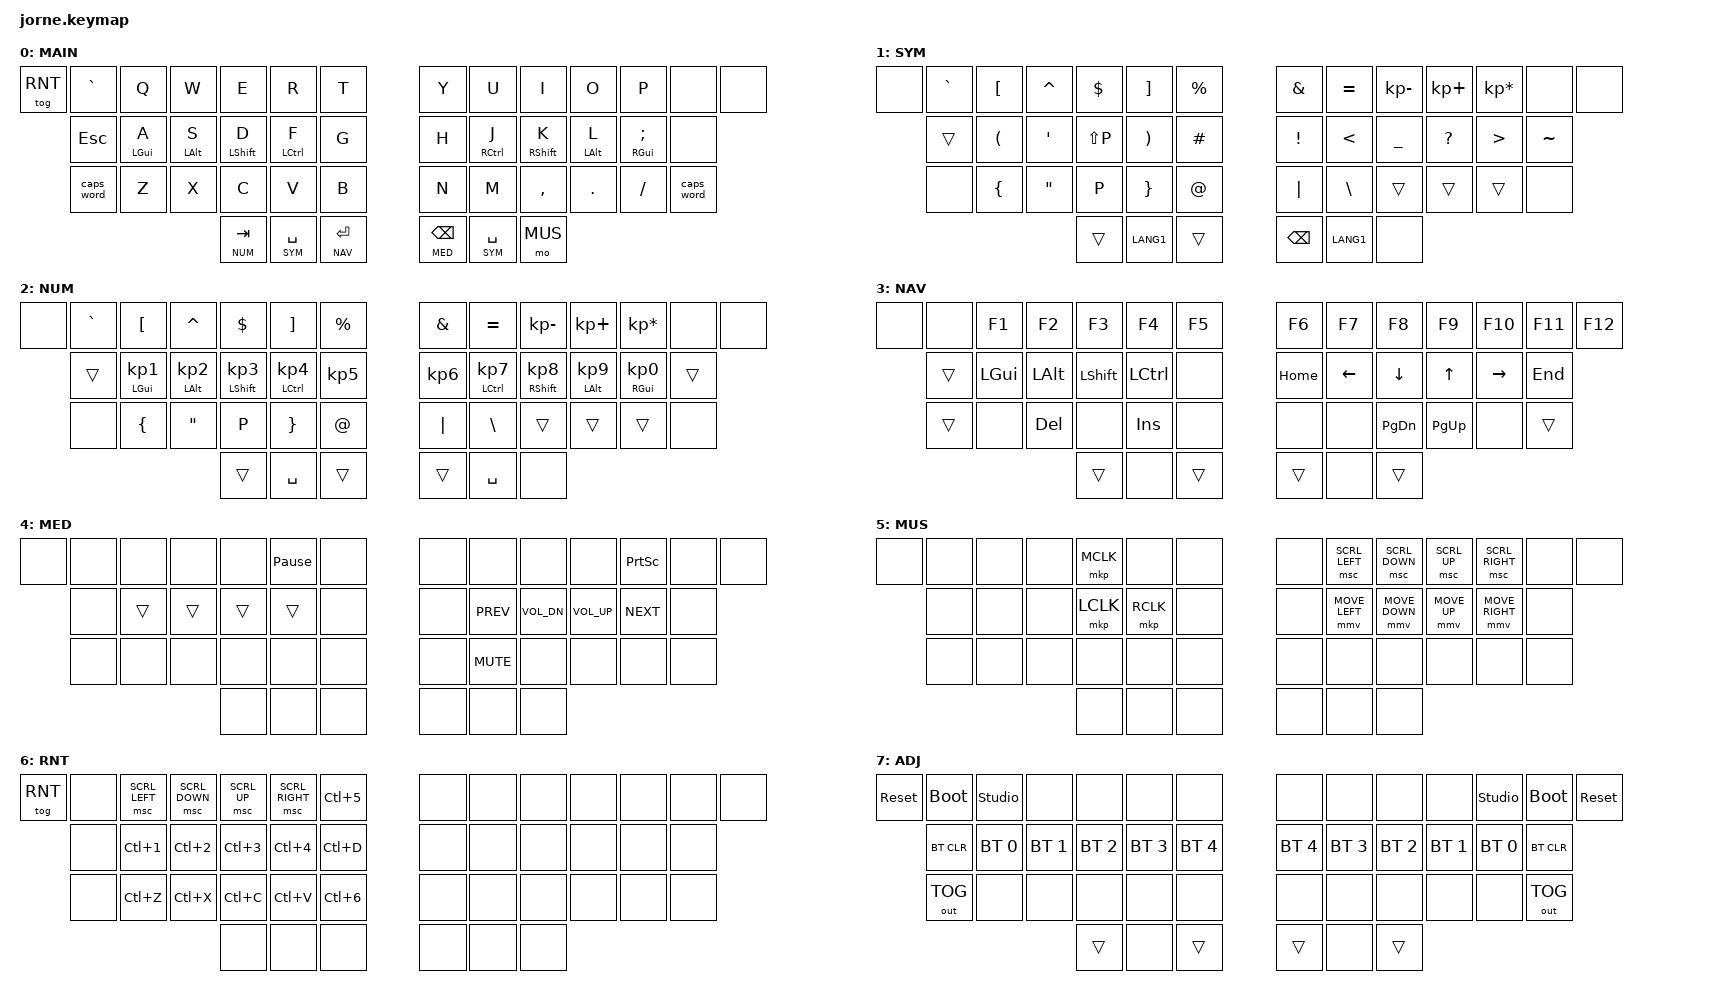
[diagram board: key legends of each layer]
/*
 * Copyright (c) 2020 The ZMK Contributors
 *
 * SPDX-License-Identifier: MIT
 */

#include <behaviors.dtsi>
#include <dt-bindings/zmk/keys.h>
#include <dt-bindings/zmk/bt.h>
#include <dt-bindings/zmk/outputs.h>
#include <dt-bindings/zmk/pointing.h>

#define DEF 0
#define SYM 1
#define NUM 2
#define NAV 3
#define MED 4
#define MUS 5
#define RNT 6
#define ADJ 7

&lt { quick-tap-ms = <200>; };
&mt { quick-tap-ms = <200>; };

/ {
	behaviors {
			hm: homerow_mods {
				compatible = "zmk,behavior-hold-tap";
				#binding-cells = <2>;
				tapping-term-ms = <150>;
				quick-tap-ms = <0>;
				flavor = "tap-preferred";
				bindings = <&kp>, <&kp>;
			};
		};
    conditional_layers {
        compatible = "zmk,conditional-layers";
        tri_layer {
            if-layers = <NAV NUM>;
            then-layer = <ADJ>;
        };
    };

        keymap {
                compatible = "zmk,keymap";

                default_layer {
                        display-name = "MAIN";
                        bindings = <
// DONE_____________________________________________________________________________________________________________               _________________________________________________________________________________________________________________
// |      RNT      |      ~        |      Q        |      W        |      E        |      R        |      T        |               |      Y        |      U        |      I        |      O        |      P        |               |               |
   &tog RNT        &kp GRAVE       &kp Q           &kp W           &kp E           &kp R           &kp T                           &kp Y           &kp U           &kp I           &kp O           &kp P           &none           &none
//                 _________________________________________________________________________________________________               _________________________________________________________________________________________________
//                 |     ESC       |      A        |      S        |      D        |      F        |      G        |               |      H        |      J        |      K        |      L        |      ;        |               |
                   &kp ESC         &hm LGUI A      &hm LALT S      &hm LSHFT D     &hm LCTRL F     &kp G                           &kp H           &hm RCTRL J     &hm RSHFT K     &hm LALT L      &hm RGUI SEMI   &none
//                 _________________________________________________________________________________________________               _________________________________________________________________________________________________
//                 |   CAPSWORD    |      Z        |      X        |      C        |      V        |      B        |               |      N        |      M        |      ,        |      .        |      /        |    CAPSWORD   |
                   &caps_word      &kp Z           &kp X           &kp C           &kp V           &kp B                           &kp N           &kp M           &kp COMMA       &kp DOT         &kp FSLH        &caps_word   
//                                                                 _________________________________________________               _________________________________________________
//                                                                 |   TAB/NUM     |   SPC/SYM     |    RET/NAV    |               |   BSPC/MED    |   SPC/SYM     |     MUS       |
                                                                   &lt NUM TAB     &lt SYM SPACE   &lt NAV RET                     &lt MED BSPC    &lt SYM SPACE   &mo MUS
                        >;
                };
                symbol_layer {
                        display-name = "SYM";
                        bindings = <
// DONE______________________________________________________________________________________________________              __________________________________________________________________________________________________________
// |              |      `       |      [       |      ^       |      $       |      ]       |      %       |              |      &       |      =       |      -       |      +       |      *       |              |              |
   &none          &kp GRAVE      &kp LBKT       &kp CARET      &kp DLLR       &kp RBKT       &kp PRCNT                     &kp AMPS       &kp EQUAL      &kp KP_MINUS   &kp KP_PLUS    &kp KP_MULTIPLY &none         &none
//                ___________________________________________________________________________________________              ___________________________________________________________________________________________
//                |              |      (       |      '       |      :       |      )       |      #       |              |      !       |      <       |      _       |      ?       |      >       |      ~       |
                  &trans         &kp LPAR       &kp APOS       &kp LS(P)      &kp RPAR       &kp HASH                      &kp EXCL       &kp LT         &kp UNDER      &kp QMARK      &kp GT         &kp TILDE
//                ___________________________________________________________________________________________              ___________________________________________________________________________________________
//                |              |      {       |      "       |      ;       |      }       |       @      |              |      |       |      \       |              |              |              |              |
                  &none          &kp LBRC       &kp DQT        &kp P          &kp RBRC       &kp AT                        &kp PIPE       &kp BSLH       &trans         &trans         &trans         &none         
//                                                             ______________________________________________              ______________________________________________
//                                                             |              |              |              |              |              |              |              |
                                                               &trans         &kp LANG1      &trans                        &kp BSPC       &kp LANG1      &none         
                        >;
                };

                num_layer {
                        display-name = "NUM";
                        bindings = <
// DONE______________________________________________________________________________________________________              __________________________________________________________________________________________________________
// |              |      `       |      [       |      ^       |      $       |      ]       |      %       |              |      &       |      =       |      -       |      +       |      *       |              |              |
   &none          &kp GRAVE      &kp LBKT       &kp CARET      &kp DLLR       &kp RBKT       &kp PRCNT                     &kp AMPS       &kp EQUAL      &kp KP_MINUS   &kp KP_PLUS    &kp KP_MULTIPLY &none         &none
//                ___________________________________________________________________________________________              ___________________________________________________________________________________________
//                |              |      1       |      2       |      3       |      4       |      5       |              |      6       |      7       |      8       |      9       |      0       |              |
                  &trans         &hm LGUI KP_N1 &hm LALT KP_N2 &hm LSHFT KP_N3 &hm LCTRL KP_N4 &kp KP_N5                   &kp KP_N6      &hm LCTRL KP_N7 &hm RSHFT KP_N8 &hm LALT KP_N9 &hm RGUI KP_N0 &trans         
//                ___________________________________________________________________________________________              ___________________________________________________________________________________________
//                |              |      {       |      "       |      ;       |      }       |       @      |              |      |       |      \       |              |              |              |              |
                  &none          &kp LBRC       &kp DQT        &kp P          &kp RBRC       &kp AT                        &kp PIPE       &kp BSLH       &trans         &trans         &trans         &none         
//                                                             ______________________________________________              ______________________________________________
//                                                             |              |              |     ADJ      |              |              |              |              |
                                                               &trans         &kp SPACE      &trans                        &trans         &kp SPACE      &none                            
                        >;
                };
                nav_layer {
                        display-name = "NAV";
                        bindings = <
// DONE_____________________________________________________________________________________________________________               ________________________________________________________________________________________________________________
// |               |               |      F1       |     F2        |     F3        |      F4       |      F5       |               |     F6        |     F7        |     F8        |     F9        |     F10       |     F11       |     F12      |
   &none           &none           &kp F1          &kp F2          &kp F3          &kp F4          &kp F5                          &kp F6          &kp F7          &kp F8          &kp F9          &kp F10         &kp F11         &kp F12   
//                 _________________________________________________________________________________________________               _________________________________________________________________________________________________
//                 |               |      META     |      ALT      |   SHIFT       |      CTRL     |               |               |     HOME      |     LEFT      |      DOWN     |     UP        |     RIGHT     |     END       |
                   &trans          &kp LGUI        &kp LALT        &kp LSHFT       &kp LCTRL              &none                           &kp HOME        &kp LEFT        &kp DOWN        &kp UP          &kp RIGHT       &kp END 
//                 _________________________________________________________________________________________________               _________________________________________________________________________________________________
//                 |               |               |      DEL      |               |     INS       |               |               |               |               |     PGDOWN    |     PGUP      |               |               |
                   &trans          &none           &kp DEL         &none           &kp INS         &none                           &none           &none           &kp PG_DN       &kp PG_UP       &none           &trans          
//                                                                 _________________________________________________               _________________________________________________
//                                                                 |     ADJ       |               |               |               |               |               |     ADJ       |                             
                                                                   &trans          &none           &trans                          &trans          &none           &trans          
                        >;
                };
                media_layer {
                        display-name = "MED";
                        bindings = <
// DONE_____________________________________________________________________________________________________________               ________________________________________________________________________________________________________________
// |               |               |               |               |               |    PAUSE      |               |               |               |               |               |               |  PrintScreen  |               |                             
   &none           &none           &none           &none           &none           &kp PAUSE_BREAK &none                           &none           &none           &none           &none           &kp PSCRN       &none           &none           
//                 _________________________________________________________________________________________________               _________________________________________________________________________________________________
//                 |               |               |               |               |               |               |               |               |    PrevTrack  |   Volume-     |    Volume+    | NextTrack     |               |             
                   &none           &trans          &trans          &trans          &trans          &none                           &none           &kp C_PREV      &kp C_VOL_DN    &kp C_VOL_UP    &kp C_NEXT      &none            
//                 _________________________________________________________________________________________________               _________________________________________________________________________________________________
//                 |               |               |               |               |               |               |               |               |    MUTE       |               |               |               |               |              
                   &none           &none           &none           &none           &none           &none                           &none           &kp C_MUTE      &none           &none           &none           &none            
//                                                                 _________________________________________________               _________________________________________________
//                                                                 |               |               |               |               |               |               |               |                             
                                                                   &none           &none           &none                           &none           &none           &none           
                        >;
                };
                mus_layer {
                        display-name = "MUS";
                        bindings = <
// DONE_____________________________________________________________________________________________________________               ________________________________________________________________________________________________________________
// |               |               |               |               |Mouse MiddleCLK|               |               |               |               | ScrollLeft    | ScrollDown    | ScrollUp      | ScrollRight   |               |                             
   &none           &none           &none           &none           &mkp MCLK       &none           &none                           &none           &msc SCRL_LEFT  &msc SCRL_DOWN  &msc SCRL_UP    &msc SCRL_RIGHT &none           &none           
//                 _________________________________________________________________________________________________               _________________________________________________________________________________________________
//                 |               |               |               | Mouse LeftCLK |Mouse RightCLK |               |               |               | CursorLeft    | CursorDown    | CursorUp      | CursorRight   |               |              
                   &none           &none           &none           &mkp LCLK       &mkp RCLK       &none                           &none           &mmv MOVE_LEFT  &mmv MOVE_DOWN  &mmv MOVE_UP    &mmv MOVE_RIGHT &none            
//                 _________________________________________________________________________________________________               _________________________________________________________________________________________________
//                 |               |               |               |               |               |               |               |               |               |               |               |               |               |              
                   &none           &none           &none           &none           &none           &none                           &none           &none           &none           &none           &none           &none            
//                                                                 _________________________________________________               _________________________________________________
//                                                                 |               |               |               |               |               |               |               |                             
                                                                   &none           &none           &none                           &none           &none           &none           
                        >;
                };
                rnt_layer {
                        display-name = "RNT";
                        bindings = <
// DONE_____________________________________________________________________________________________________________               _________________________________________________________________________________________________________________
//|     RNT        |               | ScrollLeft    | ScrollDown    | ScrollUp      | ScrollRight   |               |               |               |               |               |               |               |               |               |
  &tog RNT         &none           &msc SCRL_LEFT  &msc SCRL_DOWN  &msc SCRL_UP    &msc SCRL_RIGHT &kp LC(5)                       &none           &none           &none           &none           &none           &none           &none
//                 _________________________________________________________________________________________________               _________________________________________________________________________________________________
//                 |               |               |               |               |               |               |               |               |               |               |               |               |               |              
                   &none           &kp LC(1)       &kp LC(2)       &kp LC(3)       &kp LC(4)       &kp LC(D)                       &none           &none           &none           &none           &none           &none            
//                 _________________________________________________________________________________________________               _________________________________________________________________________________________________
//                 |               |               |               |               |               |               |               |               |               |               |               |               |               |              
                   &none           &kp LC(Z)       &kp LC(X)       &kp LC(C)       &kp LC(V)       &kp LC(6)                       &none           &none           &none           &none           &none           &none            
//                                                                 _________________________________________________               _________________________________________________
//                                                                 |               |               |               |               |               |               |               |                             
                                                                   &none           &none           &none                           &none           &none           &none           
                        >;
                };
                adjust_layer {
                        display-name = "ADJ";
                        bindings = <
// DONE______________________________________________________________________________________________________              __________________________________________________________________________________________________________
// |     RST      |    BLDR      |     STU      |              |              |              |              |              |              |              |              |              |     STU      |    BLDR      |     RST      |
   &sys_reset     &bootloader    &studio_unlock &none          &none          &none          &none                         &none          &none          &none          &none          &studio_unlock &bootloader    &sys_reset     
//                ___________________________________________________________________________________________              ___________________________________________________________________________________________
//                |    BTCLR     |     BT0      |     BT1      |     BT2      |     BT3      |     BT4      |              |     BT4      |     BT3      |     BT2      |     BT1      |     BT0      |    BTCLR     |
                  &bt BT_CLR     &bt BT_SEL 0   &bt BT_SEL 1   &bt BT_SEL 2   &bt BT_SEL 3   &bt BT_SEL 4                  &bt BT_SEL 4   &bt BT_SEL 3   &bt BT_SEL 2   &bt BT_SEL 1   &bt BT_SEL 0   &bt BT_CLR     
//                ___________________________________________________________________________________________              ___________________________________________________________________________________________
//                |     OUT      |              |              |              |              |              |              |              |              |              |              |              |     OUT      |
                  &out OUT_TOG   &none          &none          &none          &none          &none                         &none          &none          &none          &none          &none          &out OUT_TOG   
//                                                             ______________________________________________              ______________________________________________
//                                                             |              |              |              |              |              |              |              |
                                                               &trans         &none          &trans                        &trans         &none          &trans         
                        >;
                };
        };
};
